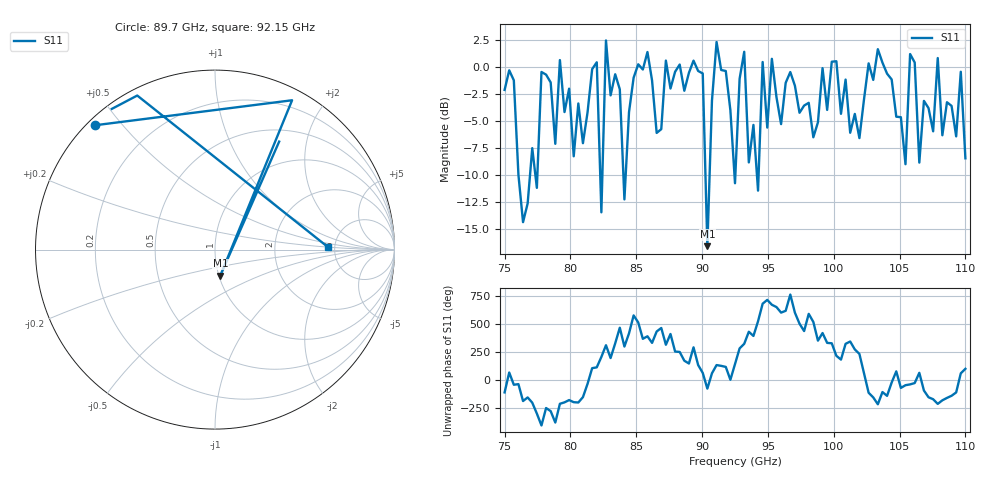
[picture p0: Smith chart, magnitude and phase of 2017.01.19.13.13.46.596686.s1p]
!Created with skrf (http://scikit-rf.org).
# GHz S RI R 50.0
!freq ReS11 ImS11
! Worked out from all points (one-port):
!   101 points, 75 GHz to 110 GHz, reference 50 ohm
!   lowest |S11| = -16.6 dB at 90.4 GHz (marker M1), VSWR 1.35, Z = 50.8 - j15.1 ohm
!   |S11| at or under -10 dB: 76.05 GHz to 76.93 GHz (877.5 MHz wide, 1.15 % of centre); 77.33748 GHz to 77.48857 GHz (151.1 MHz wide, 0.195 % of centre); 82.26315 GHz to 82.42581 GHz (162.7 MHz wide, 0.198 % of centre) (the widest 3 of 7)
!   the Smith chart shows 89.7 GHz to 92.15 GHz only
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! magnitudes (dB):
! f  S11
! 75 GHz  -2.1
! 75.7 GHz  -1.2
! 76.4 GHz  -14.4
! 77.45 GHz  -11.2
! 77.8 GHz  -0.4
! 79.55 GHz  -4.1
! 82 GHz  0.5
! 82.35 GHz  -13.5
! 82.7 GHz  2.5
! 83.75 GHz  -2.0
! 84.1 GHz  -12.3
! 85.15 GHz  0.3
! 88.3 GHz  0.3
! 90.05 GHz  -0.6
! 90.4 GHz  -16.6
! 91.1 GHz  2.4
! 92.5 GHz  -10.8
! 93.2 GHz  1.4
! 94.25 GHz  -11.4
! 94.6 GHz  0.5
! 97.05 GHz  -1.7
! 101.2 GHz  -6.1
! 103.3 GHz  1.7
! 105.5 GHz  -9.0
! 105.8 GHz  1.2
! 106.5 GHz  -8.8
! 107.9 GHz  0.9
! 110 GHz  -8.4
